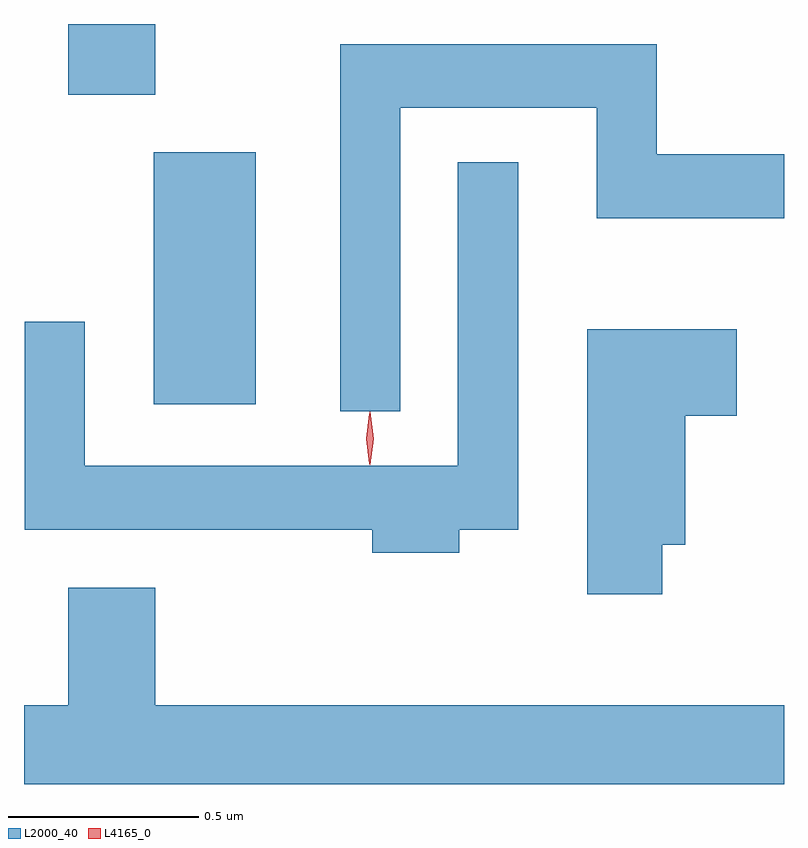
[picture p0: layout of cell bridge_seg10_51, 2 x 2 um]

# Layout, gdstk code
import gdstk
lib = gdstk.Library(unit=1e-6, precision=1e-09)
def R(c, l, rs):  # rectangles x0, y0, x1, y1
    for r in rs: c.add(gdstk.rectangle(r[:2], r[2:], *l))
def P(c, l, *ps):  # polygons
    for p in ps: c.add(gdstk.Polygon(p, *l))
L2000_40 = (2000, 40)
L4165_0 = (4165, 0)

bridge_seg10_51 = lib.new_cell('bridge_seg10_51')
R(bridge_seg10_51, L2000_40, [(1592.406,2188.236,1592.674,2188.899), (1592.181,2189.051,1592.409,2189.237)])
P(bridge_seg10_51, L2000_40, [(1593.054,2189.016),(1593.571,2189.016),(1593.571,2188.726),(1594.064,2188.726),(1594.064,2188.894),(1593.729,2188.894),(1593.729,2189.184),(1592.896,2189.184),(1592.896,2188.218),(1593.054,2188.218)],
  [(1593.209,2187.906),(1593.364,2187.906),(1593.364,2188.873),(1593.206,2188.873),(1593.206,2188.074),(1592.224,2188.074),(1592.224,2188.453),(1592.066,2188.453),(1592.066,2187.906),(1592.981,2187.906),(1592.981,2187.846),(1593.209,2187.846)],
  [(1593.744,2187.866),(1593.804,2187.866),(1593.804,2188.206),(1593.939,2188.206),(1593.939,2188.434),(1593.546,2188.434),(1593.546,2187.736),(1593.744,2187.736)],
  [(1594.064,2187.444),(1592.409,2187.444),(1592.409,2187.754),(1592.181,2187.754),(1592.181,2187.444),(1592.064,2187.444),(1592.064,2187.237),(1594.064,2187.237)])
P(bridge_seg10_51, L4165_0, [(1592.974,2188.077),(1592.965,2188.146),(1592.974,2188.216),(1592.975,2188.216),(1592.975,2188.216),(1592.985,2188.146),(1592.975,2188.077),(1592.975,2188.077)],
  [(1592.974,2188.079),(1592.973,2188.08),(1592.964,2188.146),(1592.973,2188.212),(1592.974,2188.213),(1592.974,2188.212),(1592.984,2188.146),(1592.974,2188.08)])

lib.write_gds('bridge_seg10_51.gds')
